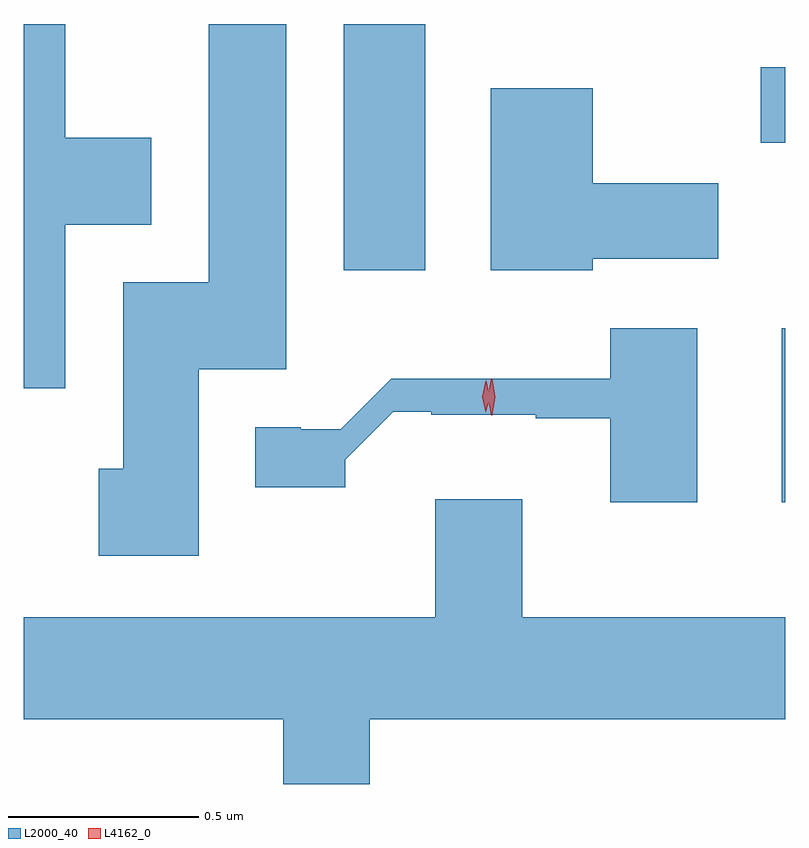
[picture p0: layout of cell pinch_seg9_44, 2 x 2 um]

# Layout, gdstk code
import gdstk
lib = gdstk.Library(unit=1e-6, precision=1e-09)
def R(c, l, rs):  # rectangles x0, y0, x1, y1
    for r in rs: c.add(gdstk.rectangle(r[:2], r[2:], *l))
def P(c, l, *ps):  # polygons
    for p in ps: c.add(gdstk.Polygon(p, *l))
L2000_40 = (2000, 40)
L4162_0 = (4162, 0)

pinch_seg9_44 = lib.new_cell('pinch_seg9_44')
R(pinch_seg9_44, L2000_40, [(630.831,2003.486,630.84,2003.944), (629.681,2004.096,629.894,2004.743), (630.776,2004.431,630.84,2004.629)])
P(pinch_seg9_44, L2000_40, [(628.949,2004.216),(629.174,2004.216),(629.174,2004.444),(628.949,2004.444),(628.949,2004.743),(628.84,2004.743),(628.84,2003.786),(628.949,2003.786)],
  [(629.299,2003.836),(629.529,2003.836),(629.529,2004.743),(629.326,2004.743),(629.326,2004.064),(629.101,2004.064),(629.101,2003.574),(629.036,2003.574),(629.036,2003.346),(629.299,2003.346)],
  [(630.334,2004.126),(630.664,2004.126),(630.664,2004.324),(630.334,2004.324),(630.334,2004.574),(630.066,2004.574),(630.066,2004.096),(630.334,2004.096)],
  [(630.609,2003.944),(630.381,2003.944),(630.381,2003.811),(629.805,2003.811),(629.672,2003.678),(629.567,2003.678),(629.567,2003.684),(629.448,2003.684),(629.448,2003.526),(629.684,2003.526),(629.684,2003.598),(629.81,2003.724),(629.91,2003.724),(629.91,2003.716),(630.185,2003.716),(630.185,2003.707),(630.381,2003.707),(630.381,2003.486),(630.609,2003.486)],
  [(629.749,2002.916),(630.84,2002.916),(630.84,2003.184),(630.149,2003.184),(630.149,2003.494),(629.921,2003.494),(629.921,2003.184),(628.84,2003.184),(628.84,2002.916),(629.521,2002.916),(629.521,2002.746),(629.749,2002.746)])
P(pinch_seg9_44, L4162_0, [(630.068,2003.715),(630.059,2003.763),(630.068,2003.811),(630.069,2003.811),(630.07,2003.811),(630.079,2003.763),(630.07,2003.715),(630.069,2003.715)],
  [(630.053,2003.723),(630.044,2003.764),(630.054,2003.805),(630.054,2003.806),(630.055,2003.805),(630.064,2003.764),(630.054,2003.723),(630.054,2003.723)])

lib.write_gds('pinch_seg9_44.gds')
